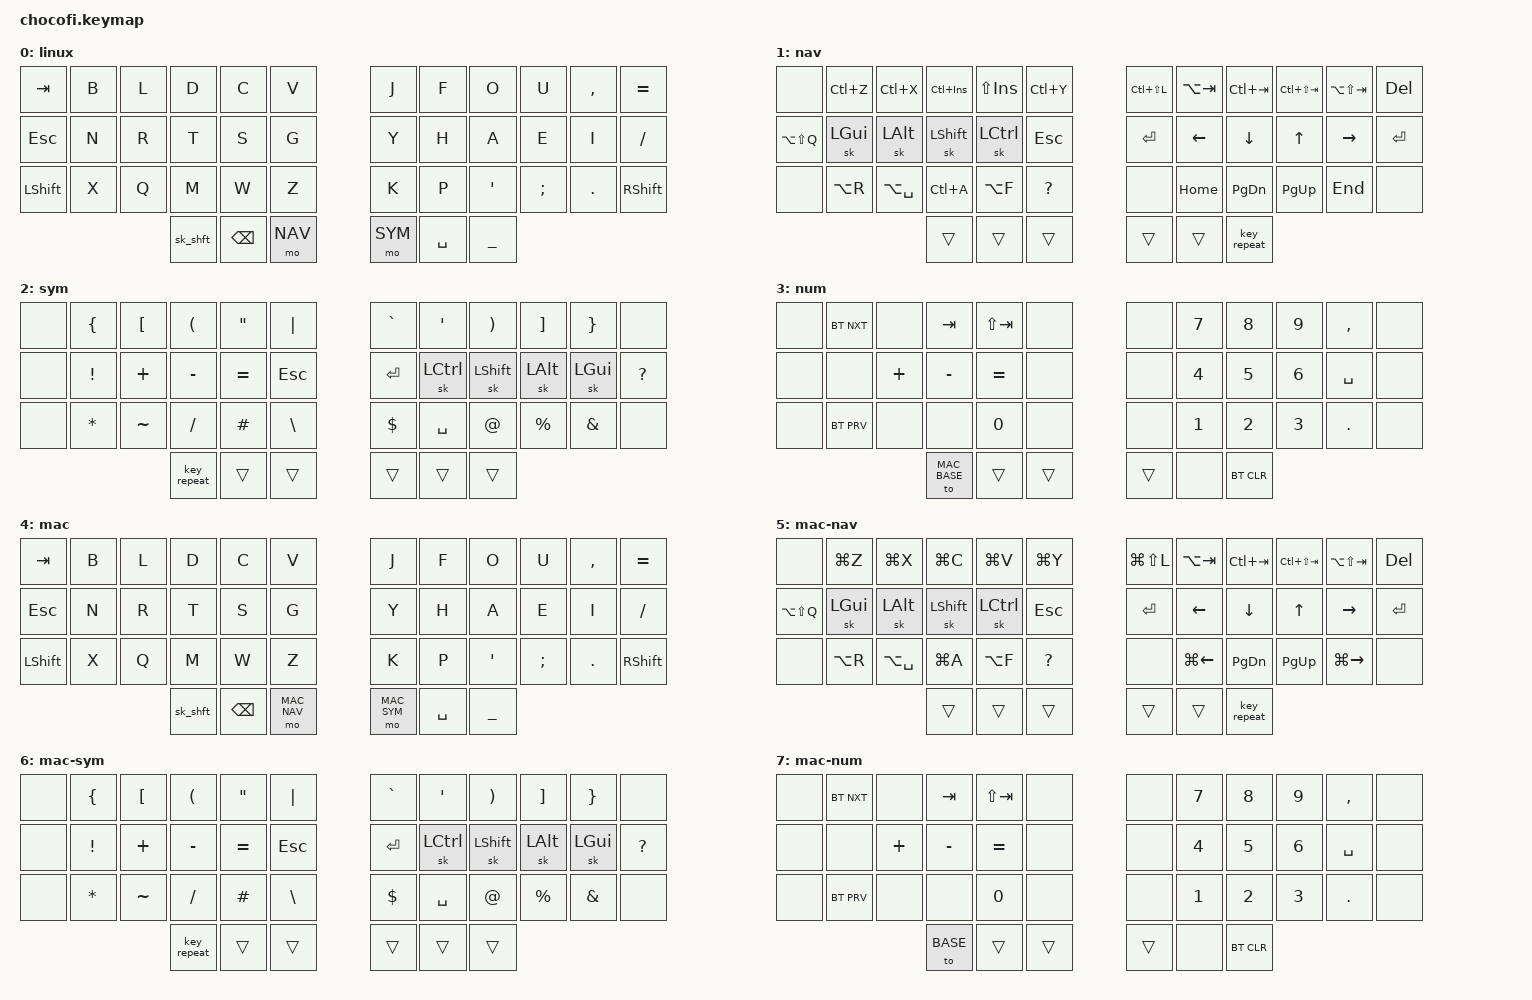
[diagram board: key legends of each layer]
/*
 * Copyright (c) 2020 The ZMK Contributors
 *
 * SPDX-License-Identifier: MIT
 */

#include <behaviors.dtsi>
#include <dt-bindings/zmk/keys.h>
#include <dt-bindings/zmk/bt.h>
#include <dt-bindings/zmk/outputs.h>
#include <dt-bindings/zmk/ext_power.h>
#include "zmk-helpers/key-labels/42.h"
#include "zmk-helpers/helper.h"

#define BASE 0
#define NAV 1
#define SYM 2
#define NUM 3
#define MAC_BASE 4
#define MAC_NAV 5
#define MAC_SYM 6
#define MAC_NUM 7

/*
  ╭─────────────────────────────┬─────────────────────────────╮
  │ LT5 LT4 LT3 LT2 LT1 LT0   │   RT0 RT1 RT2 RT3 RT4 RT5  │
  │ LM5 LM4 LM3 LM2 LM1 LM0   │   RM0 RM1 RM2 RM3 RM4 RM5  │
  │ LB5 LB4 LB3 LB2 LB1 LB0   │   RB0 RB1 RB2 RB3 RB4 RB5  │
  ╰───────────╮ LH2 LH1 LH0   │   RH0 RH1 RH2 ╭───────────╯
              ╰────────────────┴────────────────╯              */

#define KEYS_L LT0 LT1 LT2 LT3 LT4 LT5 LM0 LM1 LM2 LM3 LM4 LM5 LB0 LB1 LB2 LB3 LB4 LB5
#define KEYS_R RT0 RT1 RT2 RT3 RT4 RT5 RM0 RM1 RM2 RM3 RM4 RM5 RB0 RB1 RB2 RB3 RB4 RB5
#define KEYS_THUMBS LH0 LH1 LH2 RH0 RH1 RH2

&lt {
    tapping-term-ms = <200>;
    quick-tap-ms = <200>;
};

// Sticky key
&sk {
    release-after-ms = <3000>;
    quick-release;
    ignore-modifiers;
};

// Sticky layer
&sl {
    release-after-ms = <1000>;
};

#define COMBO_TIMEOUT 15
/ {
    combos {
        compatible = "zmk,combos";
        combo_return_left_hand {
            timeout-ms = <COMBO_TIMEOUT>;
            key-positions = <LM0 LM1>;  // S + G on Gallium
            bindings = <&kp RET>;
        };
        combo_esc {
            timeout-ms = <COMBO_TIMEOUT>;
            key-positions = <LM1 LM2>;  // T + S on Gallium
            bindings = <&kp ESC>;
        };
    };
};

/ {
    macros {
    };
};

/ {
    conditional_layers {
        compatible = "zmk,conditional-layers";
        num_layer {
            if-layers = <NAV SYM>;
            then-layer = <NUM>;
        };
        mac_num_layer {
            if-layers = <MAC_NAV MAC_SYM>;
            then-layer = <MAC_NUM>;
        };
    };
};

/ {
    behaviors {
        hml: home_row_mod_left {
            compatible = "zmk,behavior-hold-tap";
            #binding-cells = <2>;
            flavor = "balanced";
            tapping-term-ms = <280>;
            quick-tap-ms = <175>;
            require-prior-idle-ms = <150>;
            bindings = <&kp>, <&kp>;
            hold-trigger-key-positions = <KEYS_R KEYS_THUMBS>;
            hold-trigger-on-release;
        };

        hmr: home_row_mod_right {
            compatible = "zmk,behavior-hold-tap";
            #binding-cells = <2>;
            flavor = "balanced";
            tapping-term-ms = <280>;
            quick-tap-ms = <175>;
            require-prior-idle-ms = <150>;
            bindings = <&kp>, <&kp>;
            hold-trigger-key-positions = <KEYS_L KEYS_THUMBS>;
            hold-trigger-on-release;
        };

        sk_shft: shift_into_caps_word {
            compatible = "zmk,behavior-tap-dance";
            #binding-cells = <0>;
            tapping-term-ms = <200>;
            bindings = <&sk LSHFT>, <&caps_word>;
        };

        paren: lparen_into_rparen {
            compatible = "zmk,behavior-tap-dance";
            #binding-cells = <0>;
            tapping-term-ms = <200>;
            bindings = <&kp LEFT_PARENTHESIS>, <&kp RIGHT_PARENTHESIS>;
        };
    };

    keymap {
        compatible = "zmk,keymap";

        // BASE ------------------------------------------------------------------------------------------------------------------
        default_layer {
            display-name = "linux";
            bindings = <
/* LT5 */   /* LT4 */ /* LT3 */ /* LT2 */  /* LT1 */  /* LT0 */  /* RT0 */  /* RT1 */  /* RT2 */  /* RT3 */  /* RT4 */   /* RT5 */
&kp TAB     &kp B     &kp L     &kp D      &kp C      &kp V      &kp J      &kp F      &kp O      &kp U      &kp COMMA   &kp EQUAL
/* LM5 */   /* LM4 */ /* LM3 */ /* LM2 */  /* LM1 */  /* LM0 */  /* RM0 */  /* RM1 */  /* RM2 */  /* RM3 */  /* RM4 */   /* RM5 */
&kp ESC     &kp N     &kp R     &kp T      &kp S      &kp G      &kp Y      &kp H      &kp A      &kp E      &kp I       &kp FSLH
/* LB5 */   /* LB4 */ /* LB3 */ /* LB2 */  /* LB1 */  /* LB0 */  /* RB0 */  /* RB1 */  /* RB2 */  /* RB3 */  /* RB4 */   /* RB5 */
&kp LSHFT   &kp X     &kp Q     &kp M      &kp W      &kp Z      &kp K      &kp P      &kp SQT    &kp SEMI   &kp DOT     &kp RSHFT
                                /* LH2 */  /* LH1 */  /* LH0 */  /* RH0 */  /* RH1 */  /* RH2 */
                                &sk_shft   &kp BSPC   &mo NAV    &mo SYM    &kp SPACE  &kp UNDER
            >;
        };

        // NAV ------------------------------------------------------------------------------------------------------------------
        nav_layer {
            display-name = "nav";
            bindings = <
&none         &kp LC(Z)  &kp LC(X)     &kp LC(INS)  &kp LS(INS)  &kp LC(Y)    &kp LC(LS(L)) &kp LA(TAB) &kp LC(TAB) &kp LC(LS(TAB)) &kp LA(LS(TAB)) &kp DEL
&kp LA(LS(Q)) &sk LGUI   &sk LALT      &sk LSHFT    &sk LCTRL    &kp ESC      &kp RET       &kp LEFT    &kp DOWN    &kp UP          &kp RIGHT       &kp RET
&none         &kp LA(R)  &kp LA(SPACE) &kp LC(A)    &kp LA(F)    &kp QMARK    &none         &kp HOME    &kp PG_DN   &kp PG_UP       &kp END         &none
                                        &trans       &trans       &trans       &trans        &trans      &key_repeat
            >;
        };

        // SYM ------------------------------------------------------------------------------------------------------------------
        sym_layer {
            display-name = "sym";
            bindings = <
&none &kp LBRC &kp LBKT  &kp LPAR    &kp DQT     &kp PIPE     &kp GRAVE &kp SQT   &kp RPAR  &kp RBKT    &kp RBRC &none
&none     &kp EXCL &kp PLUS  &kp MINUS   &kp EQUAL   &kp ESC      &kp RET   &sk LCTRL &sk LSHFT &sk LALT    &sk LGUI &kp QMARK
&none &kp STAR &kp TILDE &kp SLASH   &kp HASH    &kp BSLH     &kp DLLR  &kp SPACE &kp AT    &kp PRCNT   &kp AMPS &none
                            &key_repeat &trans      &trans       &trans    &trans    &trans
            >;
        };

        // NUM ------------------------------------------------------------------------------------------------------------------
        num_layer {
            display-name = "num";
            bindings = <
&none   &bt BT_NXT &none    &kp TAB      &kp LS(TAB) &none        &none   &kp N7   &kp N8   &kp N9       &kp COMMA &none
&none   &none    &kp PLUS &kp MINUS    &kp EQUAL   &none        &none   &kp N4   &kp N5   &kp N6       &kp SPACE &none
&none   &bt BT_PRV &none    &none        &kp N0      &none        &none   &kp N1   &kp N2   &kp N3       &kp DOT   &none
                           &to MAC_BASE &trans      &trans       &trans  &none    &bt BT_CLR
            >;
        };

        // MAC_BASE --------------------------------------------------------------------------------------------------------------
        mac_base_layer {
            display-name = "mac";
            bindings = <
&kp TAB     &kp B     &kp L     &kp D      &kp C      &kp V      &kp J      &kp F      &kp O      &kp U      &kp COMMA   &kp EQUAL
&kp ESC     &kp N     &kp R     &kp T      &kp S      &kp G      &kp Y      &kp H      &kp A      &kp E      &kp I       &kp FSLH
&kp LSHFT   &kp X     &kp Q     &kp M      &kp W      &kp Z      &kp K      &kp P      &kp SQT    &kp SEMI   &kp DOT     &kp RSHFT
                                &sk_shft   &kp BSPC   &mo MAC_NAV &mo MAC_SYM &kp SPACE &kp UNDER
            >;
        };

        // MAC_NAV --------------------------------------------------------------------------------------------------------------
        mac_nav_layer {
            display-name = "mac-nav";
            bindings = <
&none         &kp LG(Z)  &kp LG(X)     &kp LG(C)    &kp LG(V)    &kp LG(Y)    &kp LG(LS(L)) &kp LA(TAB)   &kp LC(TAB) &kp LC(LS(TAB)) &kp LA(LS(TAB)) &kp DEL
&kp LA(LS(Q)) &sk LGUI   &sk LALT      &sk LSHFT    &sk LCTRL    &kp ESC      &kp RET       &kp LEFT      &kp DOWN    &kp UP          &kp RIGHT       &kp RET
&none         &kp LA(R)  &kp LA(SPACE) &kp LG(A)    &kp LA(F)    &kp QMARK    &none         &kp LG(LEFT)  &kp PG_DN   &kp PG_UP       &kp LG(RIGHT)   &none
                                        &trans       &trans       &trans       &trans   &trans        &key_repeat
            >;
        };

        // MAC_SYM --------------------------------------------------------------------------------------------------------------
        mac_sym_layer {
            display-name = "mac-sym";
            bindings = <
&none &kp LBRC &kp LBKT  &kp LPAR  &kp DQT   &kp PIPE     &kp GRAVE &kp SQT   &kp RPAR  &kp RBKT    &kp RBRC &none
&none     &kp EXCL &kp PLUS  &kp MINUS &kp EQUAL &kp ESC      &kp RET   &sk LCTRL &sk LSHFT &sk LALT    &sk LGUI &kp QMARK
&none &kp STAR &kp TILDE &kp SLASH &kp HASH  &kp BSLH     &kp DLLR  &kp SPACE &kp AT    &kp PRCNT   &kp AMPS &none
                            &key_repeat    &trans &trans    &trans    &trans    &trans
            >;
        };

        // MAC_NUM --------------------------------------------------------------------------------------------------------------
        mac_num_layer {
            display-name = "mac-num";
            bindings = <
&none   &bt BT_NXT &none    &kp TAB   &kp LS(TAB) &none        &none   &kp N7   &kp N8   &kp N9   &kp COMMA &none
&none   &none    &kp PLUS &kp MINUS &kp EQUAL   &none        &none   &kp N4   &kp N5   &kp N6   &kp SPACE &none
&none   &bt BT_PRV &none    &none     &kp N0      &none        &none   &kp N1   &kp N2   &kp N3   &kp DOT   &none
                           &to BASE  &trans      &trans       &trans  &none    &bt BT_CLR
            >;
        };
    };
};
